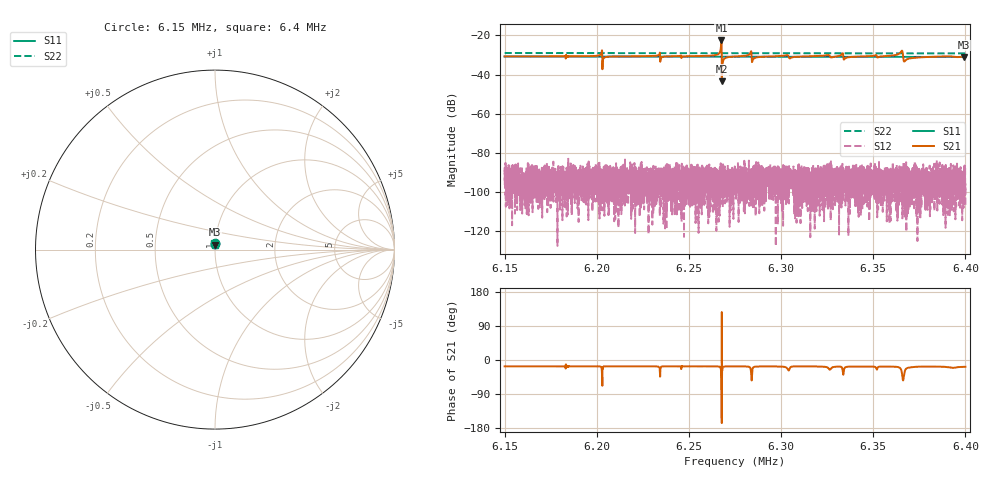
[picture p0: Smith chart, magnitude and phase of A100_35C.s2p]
!CETC41,AV3656A,ZGL00048,1.3.2
!Calibration ON (Full Solt 2-Port(Omit Isolation))
!Measurements: S11 S21 S12 S22
!2025-04-18 02:59
# Hz  S  dB  R 50.000
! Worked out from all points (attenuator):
!   6401 points, 6.15 MHz to 6.4 MHz, reference 50 ohm
!   highest |S21| = -22.54 dB at 6.2677 MHz (marker M1); lowest = -43.3 dB at 6.2679 MHz (marker M2)
!   lowest |S11| = -31.0 dB at 6.3991 MHz (marker M3), VSWR 1.06, Z = 49.9 + j2.82 ohm
!   |S11| at or under -10 dB: start of sweep to end of sweep
!   |S22| runs from -29.1 to -28.9 dB; largest |S21 - S12| = 0.075
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6150000  -30.74 85.5  -30.67 -16.6  -87.23 76.3  -28.94 90.4
6191680  -30.78 86.4  -30.58 -16.7  -104.06 176.9  -28.97 91.2
6201719  -30.78 86.6  -30.01 -17.1  -92.89 50.2  -28.98 91.4
6204258  -30.79 86.7  -31.20 -17.1  -90.13 165.0  -28.99 91.4
6233359  -30.81 87.3  -30.09 -17.5  -95.18 -41.8  -29.01 91.9
6262227  -30.83 88.0  -30.26 -16.8  -100.33 -93.9  -29.04 92.4
6266523  -30.84 88.1  -29.03 -17.6  -97.49 153.2  -29.03 92.5
6267656  -30.83 88.1  -22.54 -72.7  -96.97 127.7  -29.04 92.6
6267852  -30.84 88.1  -43.32 126.5  -95.42 172.8  -29.03 92.5
6269063  -30.84 88.2  -31.95 -17.4  -94.48 72.8  -29.04 92.6
6270391  -30.84 88.3  -31.23 -17.0  -96.03 66.4  -29.03 92.6
6275000  -30.84 88.3  -30.72 -16.9  -92.17 82.2  -29.05 92.7
6282734  -30.84 88.5  -29.67 -18.1  -98.19 172.1  -29.04 92.8
6285313  -30.86 88.5  -31.68 -18.3  -91.60 7.3  -29.05 92.9
6316680  -30.89 89.2  -30.61 -17.0  -92.89 166.4  -29.07 93.4
6332461  -30.90 89.6  -30.05 -17.8  -89.90 19.9  -29.09 93.7
6335039  -30.90 89.7  -31.50 -18.7  -95.17 -60.5  -29.08 93.7
6358359  -30.94 90.2  -30.40 -17.4  -91.26 32.1  -29.10 94.1
6364883  -30.93 90.4  -28.55 -23.0  -91.40 133.7  -29.12 94.3
6367617  -30.93 90.4  -32.62 -24.3  -94.25 42.9  -29.11 94.3
6399102  -30.97 91.0  -30.89 -18.1  -104.83 -117.0  -29.14 94.9
6400000  -30.97 91.1  -30.83 -17.9  -107.12 102.2  -29.14 94.8
